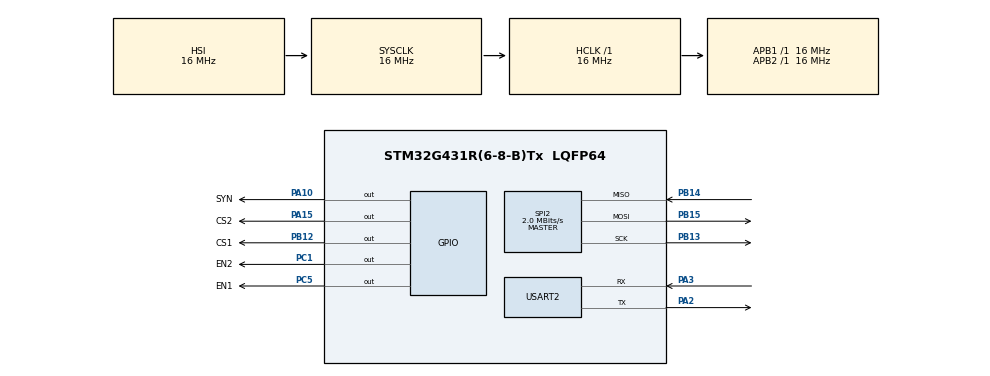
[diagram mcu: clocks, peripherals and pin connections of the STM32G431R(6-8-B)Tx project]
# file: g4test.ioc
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Mcu.Family=STM32G4
Mcu.Name=STM32G431R(6-8-B)Tx
Mcu.Package=LQFP64
NVIC.PriorityGroup=NVIC_PRIORITYGROUP_4
NVIC.USART2_IRQn=true\:0\:0\:false\:false\:true\:true\:true\:true
PA10.GPIO_Label=SYN
PA10.Signal=GPIO_Output
PA13.Mode=Serial_Wire
PA13.Signal=SYS_JTMS-SWDIO
PA14.Mode=Serial_Wire
PA14.Signal=SYS_JTCK-SWCLK
PA15.GPIO_Label=CS2
PA15.Signal=GPIO_Output
PA2.Mode=Asynchronous
PA2.Signal=USART2_TX
PA3.Mode=Asynchronous
PA3.Signal=USART2_RX
PB12.GPIO_Label=CS1
PB12.Signal=GPIO_Output
PB13.Mode=Full_Duplex_Master
PB13.Signal=SPI2_SCK
PB14.Mode=Full_Duplex_Master
PB14.Signal=SPI2_MISO
PB15.Mode=Full_Duplex_Master
PB15.Signal=SPI2_MOSI
PC1.GPIO_Label=EN2
PC1.Signal=GPIO_Output
PC14-OSC32_IN.Mode=LSE-External-Oscillator
PC14-OSC32_IN.Signal=RCC_OSC32_IN
PC15-OSC32_OUT.Mode=LSE-External-Oscillator
PC15-OSC32_OUT.Signal=RCC_OSC32_OUT
PC5.GPIO_Label=EN1
PC5.Signal=GPIO_Output
ProjectManager.HeapSize=0x200
ProjectManager.StackSize=0x400
ProjectManager.TargetToolchain=EWARM V8.50
RCC.AHBFreq_Value=16000000
RCC.APB1Freq_Value=16000000
RCC.APB1TimFreq_Value=16000000
RCC.APB2Freq_Value=16000000
RCC.APB2TimFreq_Value=16000000
RCC.CortexFreq_Value=16000000
RCC.EXTERNAL_CLOCK_VALUE=12288000
RCC.HCLKFreq_Value=16000000
RCC.HSE_VALUE=8000000
RCC.HSI48_VALUE=48000000
RCC.HSI_VALUE=16000000
RCC.SYSCLKFreq_VALUE=16000000
RCC.USBFreq_Value=64000000
RCC.VCOOutputFreq_Value=128000000
SPI2.BaudRatePrescaler=SPI_BAUDRATEPRESCALER_8
SPI2.CLKPhase=SPI_PHASE_1EDGE
SPI2.CLKPolarity=SPI_POLARITY_HIGH
SPI2.CalculateBaudRate=2.0 MBits/s
SPI2.DataSize=SPI_DATASIZE_8BIT
SPI2.Direction=SPI_DIRECTION_2LINES
SPI2.Mode=SPI_MODE_MASTER
SPI2.VirtualType=VM_MASTER
USART2.VirtualMode-Asynchronous=VM_ASYNC
VP_SYS_VS_DBSignals.Mode=DisableDeadBatterySignals
board=custom

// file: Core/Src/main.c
/* USER CODE BEGIN Header */
/**
  ******************************************************************************
  * @file           : main.c
  * @brief          : Main program body
  ******************************************************************************
  * @attention
  *
  * Copyright (c) 2023 STMicroelectronics.
  * All rights reserved.
  *
  * This software is licensed under terms that can be found in the LICENSE file
  * in the root directory of this software component.
  * If no LICENSE file comes with this software, it is provided AS-IS.
  *
  ******************************************************************************
  */
/* USER CODE END Header */
#include "main.h"

/* USER CODE BEGIN Includes */
#include "stdio.h"
#include "metroTask.h"
#include "st_device.h"
#include "metrology_hal.h"
#include "string.h"
#include "stdint.h"
#include "inttypes.h"
/* USER CODE END Includes */

SPI_HandleTypeDef hspi2;

UART_HandleTypeDef huart2;

/* USER CODE BEGIN PV */
//metroData_t tt ,
wAppStruct ph_one ;
//uint8_t txbuf[];
//uint8_t byte;

char $SCH[100] ;

/* USER CODE END PV */

void SystemClock_Config(void);
static void MX_GPIO_Init(void);
static void MX_SPI2_Init(void);
static void MX_USART2_UART_Init(void);

void UART_Transmit_String(char *data) {
    HAL_UART_Transmit(&huart2, (uint8_t *)data, strlen(data), HAL_MAX_DELAY);
}
int main(void)
{

  /* MCU Configuration--------------------------------------------------------*/

  /* Reset of all peripherals, Initializes the Flash interface and the Systick. */
  HAL_Init();

  /* Configure the system clock */
  SystemClock_Config();

  /* Initialize all configured peripherals */
  MX_GPIO_Init();
  MX_SPI2_Init();
  MX_USART2_UART_Init();
  /* USER CODE BEGIN 2 */

  HAL_GPIO_WritePin(GPIOC, GPIO_PIN_5, GPIO_PIN_RESET);
  HAL_GPIO_WritePin(GPIOC, GPIO_PIN_1, GPIO_PIN_RESET);// configure EN pins as low

  METRO_Init();
  WA_init(&ph_one);
 //HAL_UART_Receive_IT(&huart2,&byte,1);

  /* USER CODE END 2 */

  /* Infinite loop */
  /* USER CODE BEGIN WHILE */
  while (1)
  {

    METRO_Latch_Measures();
    METRO_Get_Measures();
    METRO_Update_Measures();

    WA_routine(&ph_one);

    //sprintf($SCH, "Dvise = %d , Tension moyenne = %" PRId16 " V ,Tension inst = %" PRId16 " V, Tension max = %" PRId16 " V , Tension min = %" PRId16 " V  ,Courant moyenne = %" PRId16 " A ,Courant inst = %" PRId16 " A , Courant max = %" PRId16 " A , Courant min = % " PRId16 " A, Energie Active = %" PRId64 " KWH ,Energie Reactive = %" PRId64 " KWH, Energie apparente = %" PRId64 " KWH, Puissance Active = %" PRId16 " KW , Puissaance Reactive = %" PRId16 " KW , Puissance Apparente = %" PRId16 " KW , V_THD_Moy = %" PRId16 " %, C_THD_Moy = %" PRId16 " % , Consommation Totale = %" PRId64 "KWH \t", EXT2, ph_one.voltage.vs.moy,ph_one.voltage.vs.inst,ph_one.voltage.vs.max ,ph_one.voltage.vs.min ,ph_one.current.vs.moy,ph_one.current.vs.inst,ph_one.current.vs.max,ph_one.current.vs.min, ph_one.activw,ph_one.reactw,ph_one.appw ,ph_one.powRmsApp.vs.moy,ph_one.powRmsApp.vs.max,ph_one.powRmsApp.vs.min, ph_one.v_thd.vs.moy, ph_one.c_thd.vs.moy, ph_one.AEnergie.total);
/* USER CODE END WHILE */

    sprintf($SCH, " %d , %" PRId16 " , %" PRId16 " , %" PRId16 " , %" PRId16 "  , %" PRId16 " , %" PRId16 ", %" PRId16 " , % " PRId16 " , %" PRId64 " , %" PRId64 ", %" PRId64 " ,%" PRId16 " , %" PRId16 " , %" PRId16 " , %" PRId16 " , %" PRId16 "  , %" PRId64 " \n", EXT2, ph_one.voltage.vs.moy,ph_one.voltage.vs.inst,ph_one.voltage.vs.max ,ph_one.voltage.vs.min ,ph_one.current.vs.moy,ph_one.current.vs.inst,ph_one.current.vs.max,ph_one.current.vs.min, ph_one.activw,ph_one.reactw,ph_one.appw ,ph_one.powRmsApp.vs.moy,ph_one.powRmsApp.vs.max,ph_one.powRmsApp.vs.min, ph_one.v_thd.vs.moy, ph_one.c_thd.vs.moy, ph_one.AEnergie.total);

    UART_Transmit_String($SCH);

    HAL_Delay(1000);
  }
}

void SystemClock_Config(void)
{
  RCC_OscInitTypeDef RCC_OscInitStruct = {0};
  RCC_ClkInitTypeDef RCC_ClkInitStruct = {0};

  /** Configure the main internal regulator output voltage
  */
  HAL_PWREx_ControlVoltageScaling(PWR_REGULATOR_VOLTAGE_SCALE1);

  /** Initializes the RCC Oscillators according to the specified parameters
  * in the RCC_OscInitTypeDef structure
  */
  RCC_OscInitStruct.OscillatorType = RCC_OSCILLATORTYPE_HSI;
  RCC_OscInitStruct.HSIState = RCC_HSI_ON;
  RCC_OscInitStruct.HSICalibrationValue = RCC_HSICALIBRATION_DEFAULT;
  RCC_OscInitStruct.PLL.PLLState = RCC_PLL_NONE;
  if (HAL_RCC_OscConfig(&RCC_OscInitStruct) != HAL_OK)
  {
    Error_Handler();
  }

  /** Initializes the CPU, AHB and APB buses clocks
  */
  RCC_ClkInitStruct.ClockType = RCC_CLOCKTYPE_HCLK|RCC_CLOCKTYPE_SYSCLK
                              |RCC_CLOCKTYPE_PCLK1|RCC_CLOCKTYPE_PCLK2;
  RCC_ClkInitStruct.SYSCLKSource = RCC_SYSCLKSOURCE_HSI;
  RCC_ClkInitStruct.AHBCLKDivider = RCC_SYSCLK_DIV1;
  RCC_ClkInitStruct.APB1CLKDivider = RCC_HCLK_DIV1;
  RCC_ClkInitStruct.APB2CLKDivider = RCC_HCLK_DIV1;

  if (HAL_RCC_ClockConfig(&RCC_ClkInitStruct, FLASH_LATENCY_0) != HAL_OK)
  {
    Error_Handler();
  }
}

static void MX_SPI2_Init(void)
{

  /* SPI2 parameter configuration*/
  hspi2.Instance = SPI2;
  hspi2.Init.Mode = SPI_MODE_MASTER;
  hspi2.Init.Direction = SPI_DIRECTION_2LINES;
  hspi2.Init.DataSize = SPI_DATASIZE_8BIT;
  hspi2.Init.CLKPolarity = SPI_POLARITY_HIGH;
  hspi2.Init.CLKPhase = SPI_PHASE_1EDGE;
  hspi2.Init.NSS = SPI_NSS_SOFT;
  hspi2.Init.BaudRatePrescaler = SPI_BAUDRATEPRESCALER_8;
  hspi2.Init.FirstBit = SPI_FIRSTBIT_MSB;
  hspi2.Init.TIMode = SPI_TIMODE_DISABLE;
  hspi2.Init.CRCCalculation = SPI_CRCCALCULATION_ENABLE;
  hspi2.Init.CRCPolynomial = 7;
  hspi2.Init.CRCLength = SPI_CRC_LENGTH_DATASIZE;
  hspi2.Init.NSSPMode = SPI_NSS_PULSE_ENABLE;
  if (HAL_SPI_Init(&hspi2) != HAL_OK)
  {
    Error_Handler();
  }

}

static void MX_USART2_UART_Init(void)
{

  huart2.Instance = USART2;
  huart2.Init.BaudRate = 115200;
  huart2.Init.WordLength = UART_WORDLENGTH_8B;
  huart2.Init.StopBits = UART_STOPBITS_1;
  huart2.Init.Parity = UART_PARITY_NONE;
  huart2.Init.Mode = UART_MODE_TX_RX;
  huart2.Init.HwFlowCtl = UART_HWCONTROL_NONE;
  huart2.Init.OverSampling = UART_OVERSAMPLING_16;
  huart2.Init.OneBitSampling = UART_ONE_BIT_SAMPLE_DISABLE;
  huart2.Init.ClockPrescaler = UART_PRESCALER_DIV1;
  huart2.AdvancedInit.AdvFeatureInit = UART_ADVFEATURE_NO_INIT;
  if (HAL_UART_Init(&huart2) != HAL_OK)
  {
    Error_Handler();
  }
  if (HAL_UARTEx_SetTxFifoThreshold(&huart2, UART_TXFIFO_THRESHOLD_1_8) != HAL_OK)
  {
    Error_Handler();
  }
  if (HAL_UARTEx_SetRxFifoThreshold(&huart2, UART_RXFIFO_THRESHOLD_1_8) != HAL_OK)
  {
    Error_Handler();
  }
  if (HAL_UARTEx_DisableFifoMode(&huart2) != HAL_OK)
  {
    Error_Handler();
  }

}

static void MX_GPIO_Init(void)
{
  GPIO_InitTypeDef GPIO_InitStruct = {0};

  /* GPIO Ports Clock Enable */
  __HAL_RCC_GPIOC_CLK_ENABLE();
  __HAL_RCC_GPIOA_CLK_ENABLE();
  __HAL_RCC_GPIOB_CLK_ENABLE();

  /*Configure GPIO pin Output Level */
  HAL_GPIO_WritePin(GPIOC, GPIO_PIN_1|GPIO_PIN_5, GPIO_PIN_RESET);

  /*Configure GPIO pin Output Level */
  HAL_GPIO_WritePin(GPIOB, GPIO_PIN_12, GPIO_PIN_RESET);

  /*Configure GPIO pin Output Level */
  HAL_GPIO_WritePin(GPIOA, GPIO_PIN_10|GPIO_PIN_15, GPIO_PIN_RESET);

  /*Configure GPIO pins : PC1 PC5 */
  GPIO_InitStruct.Pin = GPIO_PIN_1|GPIO_PIN_5;
  GPIO_InitStruct.Mode = GPIO_MODE_OUTPUT_PP;
  GPIO_InitStruct.Pull = GPIO_NOPULL;
  GPIO_InitStruct.Speed = GPIO_SPEED_FREQ_LOW;
  HAL_GPIO_Init(GPIOC, &GPIO_InitStruct);

  /*Configure GPIO pin : PB12 */
  GPIO_InitStruct.Pin = GPIO_PIN_12;
  GPIO_InitStruct.Mode = GPIO_MODE_OUTPUT_PP;
  GPIO_InitStruct.Pull = GPIO_NOPULL;
  GPIO_InitStruct.Speed = GPIO_SPEED_FREQ_LOW;
  HAL_GPIO_Init(GPIOB, &GPIO_InitStruct);

  /*Configure GPIO pins : PA10 PA15 */
  GPIO_InitStruct.Pin = GPIO_PIN_10|GPIO_PIN_15;
  GPIO_InitStruct.Mode = GPIO_MODE_OUTPUT_PP;
  GPIO_InitStruct.Pull = GPIO_NOPULL;
  GPIO_InitStruct.Speed = GPIO_SPEED_FREQ_LOW;
  HAL_GPIO_Init(GPIOA, &GPIO_InitStruct);

}

void Error_Handler(void)
{
  __disable_irq();
  while (1)
  {
  }
}
